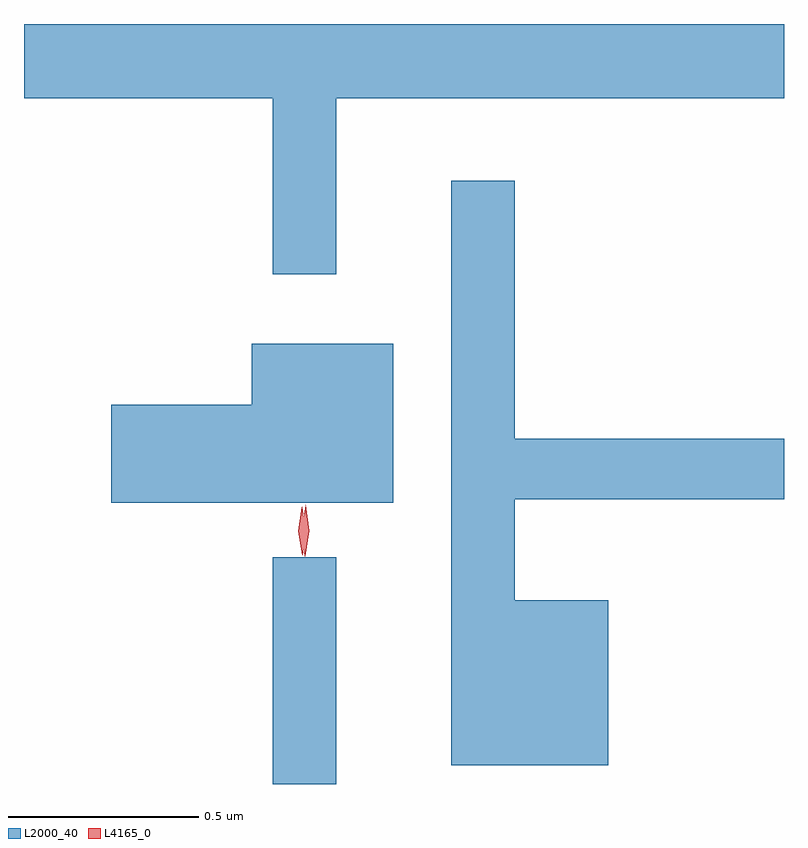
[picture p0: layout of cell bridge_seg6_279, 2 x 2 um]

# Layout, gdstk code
import gdstk
lib = gdstk.Library(unit=1e-6, precision=1e-09)
def R(c, l, rs):  # rectangles x0, y0, x1, y1
    for r in rs: c.add(gdstk.rectangle(r[:2], r[2:], *l))
def P(c, l, *ps):  # polygons
    for p in ps: c.add(gdstk.Polygon(p, *l))
L2000_40 = (2000, 40)
L4165_0 = (4165, 0)

bridge_seg6_279 = lib.new_cell('bridge_seg6_279')
R(bridge_seg6_279, L2000_40, [(1272.071,1577.091,1272.239,1577.688)])
P(bridge_seg6_279, L2000_40, [(1272.239,1578.896),(1273.417,1578.896),(1273.417,1579.091),(1271.417,1579.091),(1271.417,1578.896),(1272.071,1578.896),(1272.071,1578.433),(1272.239,1578.433)],
  [(1272.954,1577.574),(1272.709,1577.574),(1272.709,1577.841),(1273.417,1577.841),(1273.417,1577.999),(1272.709,1577.999),(1272.709,1578.678),(1272.541,1578.678),(1272.541,1577.141),(1272.954,1577.141)],
  [(1272.389,1578.249),(1272.016,1578.249),(1272.016,1578.089),(1271.646,1578.089),(1271.646,1577.831),(1272.389,1577.831)])
P(bridge_seg6_279, L4165_0, [(1272.149,1577.693),(1272.149,1577.694),(1272.139,1577.756),(1272.148,1577.819),(1272.149,1577.82),(1272.149,1577.819),(1272.159,1577.756),(1272.15,1577.694)],
  [(1272.156,1577.69),(1272.148,1577.758),(1272.158,1577.825),(1272.158,1577.826),(1272.159,1577.825),(1272.168,1577.758),(1272.157,1577.69),(1272.157,1577.69)])

lib.write_gds('bridge_seg6_279.gds')
